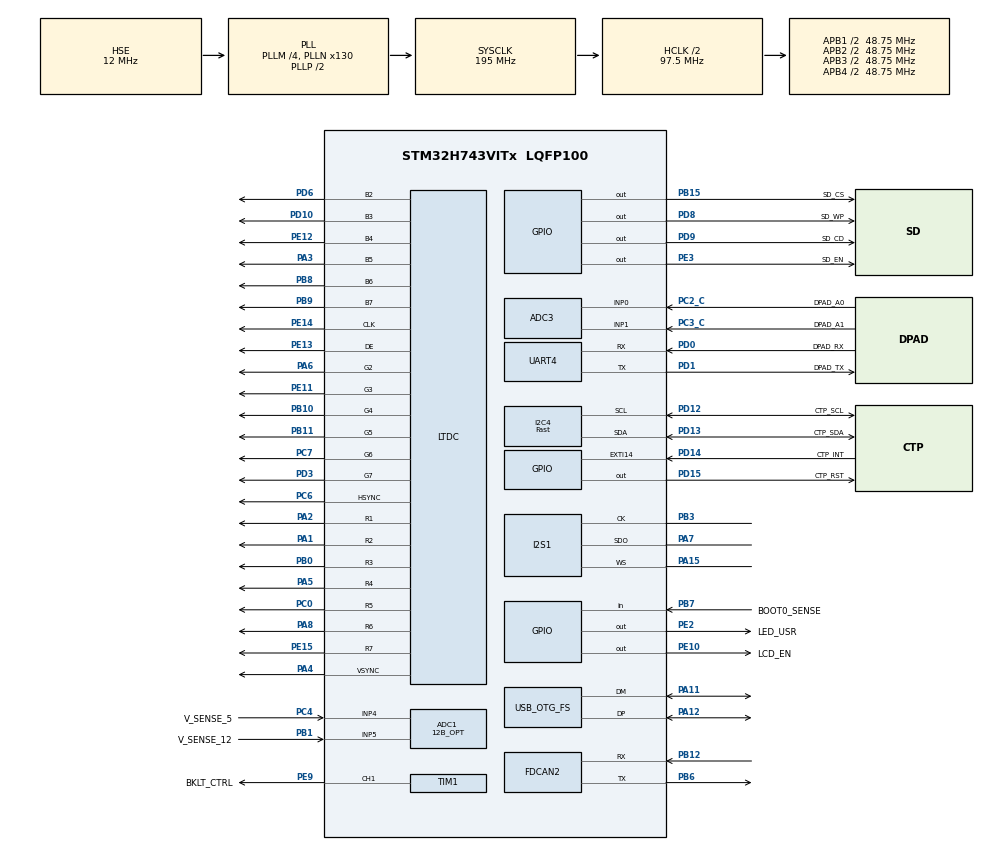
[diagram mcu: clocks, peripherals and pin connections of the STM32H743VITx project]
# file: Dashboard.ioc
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ADC1.Channel-1\#ChannelRegularConversion=ADC_CHANNEL_4
ADC1.Channel-2\#ChannelRegularConversion=ADC_CHANNEL_5
ADC1.ContinuousConvMode=ENABLE
ADC1.ConversionDataManagement=ADC_CONVERSIONDATA_DMA_CIRCULAR
ADC1.NbrOfConversion=2
ADC1.NbrOfConversionFlag=1
ADC1.OffsetNumber-1\#ChannelRegularConversion=ADC_OFFSET_NONE
ADC1.OffsetNumber-2\#ChannelRegularConversion=ADC_OFFSET_NONE
ADC1.OffsetSignedSaturation-1\#ChannelRegularConversion=DISABLE
ADC1.OversamplingMode=ENABLE
ADC1.Rank-1\#ChannelRegularConversion=1
ADC1.Rank-2\#ChannelRegularConversion=2
ADC1.Ratio=1024
ADC1.Resolution=ADC_RESOLUTION_12B_OPT
ADC1.RightBitShift=ADC_RIGHTBITSHIFT_6
ADC1.SamplingTime-1\#ChannelRegularConversion=ADC_SAMPLETIME_810CYCLES_5
ADC1.SamplingTime-2\#ChannelRegularConversion=ADC_SAMPLETIME_810CYCLES_5
ADC1.master=1
ADC3.Channel-0\#ChannelRegularConversion=ADC_CHANNEL_TEMPSENSOR
ADC3.NbrOfConversion=1
ADC3.NbrOfConversionFlag=1
ADC3.OffsetNumber-0\#ChannelRegularConversion=ADC_OFFSET_NONE
ADC3.OffsetSignedSaturation-0\#ChannelRegularConversion=DISABLE
ADC3.Rank-0\#ChannelRegularConversion=1
ADC3.SamplingTime-0\#ChannelRegularConversion=ADC_SAMPLETIME_32CYCLES_5
CORTEX_M7.CPU_DCache=Enabled
CORTEX_M7.CPU_ICache=Enabled
CORTEX_M7.Enable_Spec=__NULL
CORTEX_M7.MPU_Control=__NULL
CORTEX_M7.default_mode_Activation=1
DMA2D.ColorMode=DMA2D_OUTPUT_RGB565
Dma.ADC1.0.Direction=DMA_PERIPH_TO_MEMORY
Dma.ADC1.0.EventEnable=DISABLE
Dma.ADC1.0.FIFOMode=DMA_FIFOMODE_DISABLE
Dma.ADC1.0.Instance=DMA1_Stream0
Dma.ADC1.0.MemDataAlignment=DMA_MDATAALIGN_WORD
Dma.ADC1.0.MemInc=DMA_MINC_ENABLE
Dma.ADC1.0.Mode=DMA_CIRCULAR
Dma.ADC1.0.PeriphDataAlignment=DMA_PDATAALIGN_WORD
Dma.ADC1.0.PeriphInc=DMA_PINC_DISABLE
Dma.ADC1.0.Polarity=HAL_DMAMUX_REQ_GEN_RISING
Dma.ADC1.0.Priority=DMA_PRIORITY_LOW
Dma.ADC1.0.RequestNumber=1
Dma.ADC1.0.SignalID=NONE
Dma.ADC1.0.SyncEnable=DISABLE
Dma.ADC1.0.SyncPolarity=HAL_DMAMUX_SYNC_NO_EVENT
Dma.ADC1.0.SyncRequestNumber=1
Dma.ADC1.0.SyncSignalID=NONE
Dma.Request0=ADC1
FDCAN2.CalculateBaudRateNominal=250000
FDCAN2.CalculateTimeBitNominal=4000
FDCAN2.CalculateTimeQuantumNominal=250.0
FDCAN2.NominalPrescaler=10
FDCAN2.NominalTimeSeg1=13
FDCAN2.NominalTimeSeg2=2
FDCAN2.RxBuffersNbr=8
FDCAN2.RxFifo0ElmtsNbr=8
FDCAN2.RxFifo1ElmtsNbr=8
FDCAN2.TxBuffersNbr=16
FDCAN2.TxEventsNbr=8
FDCAN2.TxFifoQueueElmtsNbr=16
I2C4.I2C_Speed_Mode=I2C_Fast
I2C4.Speed=300
I2C4.Timing=0x00403A5E
I2S1.ErrorAudioFreq=0.15 %
I2S1.Instance=SPI$Index
I2S1.RealAudioFreq=8.012 KHz
LTDC.ActiveH=272
LTDC.ActiveW=480
LTDC.Alpha0_L0=255
LTDC.Alpha_L0=255
LTDC.Blue_L0=255
LTDC.HBP=40
LTDC.HFP=5
LTDC.ImageHeight_L0=272
LTDC.ImageWidth_L0=480
LTDC.Layers=0
LTDC.PixelFormat_L0=LTDC_PIXEL_FORMAT_RGB565
LTDC.VBP=8
LTDC.VFP=8
LTDC.WindowX1_L0=480
LTDC.WindowY0_L0=0
LTDC.WindowY1_L0=272
Mcu.Family=STM32H7
Mcu.Name=STM32H743VITx
Mcu.Package=LQFP100
NVIC.DMA1_Stream0_IRQn=true\:0\:0\:false\:false\:true\:false\:true\:true
NVIC.FDCAN2_IT0_IRQn=true\:0\:0\:false\:false\:true\:true\:true\:true
NVIC.FDCAN2_IT1_IRQn=true\:0\:0\:false\:false\:true\:true\:true\:true
NVIC.FDCAN_CAL_IRQn=true\:0\:0\:false\:false\:true\:true\:true\:true
NVIC.LTDC_ER_IRQn=true\:0\:0\:false\:false\:true\:true\:true\:true
NVIC.LTDC_IRQn=true\:0\:0\:false\:false\:true\:true\:true\:true
NVIC.OTG_FS_IRQn=true\:0\:0\:false\:false\:true\:false\:true\:true
NVIC.PriorityGroup=NVIC_PRIORITYGROUP_4
PA1.Mode=RGB666
PA1.Signal=LTDC_R2
PA11.Mode=Device_Only
PA11.Signal=USB_OTG_FS_DM
PA12.Mode=Device_Only
PA12.Signal=USB_OTG_FS_DP
PA13\ (JTMS/SWDIO).Mode=Serial_Wire
PA13\ (JTMS/SWDIO).Signal=DEBUG_JTMS-SWDIO
PA14\ (JTCK/SWCLK).Mode=Serial_Wire
PA14\ (JTCK/SWCLK).Signal=DEBUG_JTCK-SWCLK
PA15\ (JTDI).Mode=Half_Duplex_Master_Tx
PA15\ (JTDI).Signal=I2S1_WS
PA2.Mode=RGB666
PA2.Signal=LTDC_R1
PA3.Mode=RGB666
PA3.Signal=LTDC_B5
PA4.Mode=RGB666
PA4.Signal=LTDC_VSYNC
PA5.Mode=RGB666
PA5.Signal=LTDC_R4
PA6.Mode=RGB666
PA6.Signal=LTDC_G2
PA7.Mode=Half_Duplex_Master_Tx
PA7.Signal=I2S1_SDO
PA8.Mode=RGB666
PA8.Signal=LTDC_R6
PB0.Mode=RGB666
PB0.Signal=LTDC_R3
PB1.GPIO_Label=V_SENSE_12
PB1.Signal=ADCx_INP5
PB10.Mode=RGB666
PB10.Signal=LTDC_G4
PB11.Mode=RGB666
PB11.Signal=LTDC_G5
PB12.Mode=FDCAN_Activate
PB12.Signal=FDCAN2_RX
PB15.GPIO_Label=SD_CS
PB15.Signal=GPIO_Output
PB3\ (JTDO/TRACESWO).Mode=Half_Duplex_Master_Tx
PB3\ (JTDO/TRACESWO).Signal=I2S1_CK
PB6.Mode=FDCAN_Activate
PB6.Signal=FDCAN2_TX
PB7.GPIO_Label=BOOT0_SENSE
PB7.Signal=GPIO_Input
PB8.Mode=RGB666
PB8.Signal=LTDC_B6
PB9.Mode=RGB666
PB9.Signal=LTDC_B7
PC0.Mode=RGB666
PC0.Signal=LTDC_R5
PC2_C.GPIO_Label=DPAD_A0
PC2_C.Mode=IN0-Single-Ended
PC2_C.Signal=ADC3_INP0
PC3_C.GPIO_Label=DPAD_A1
PC3_C.Mode=IN1-Single-Ended
PC3_C.Signal=ADC3_INP1
PC4.GPIO_Label=V_SENSE_5
PC4.Signal=ADCx_INP4
PC6.Mode=RGB666
PC6.Signal=LTDC_HSYNC
PC7.Mode=RGB666
PC7.Signal=LTDC_G6
PD0.GPIO_Label=DPAD_RX
PD0.Mode=Asynchronous
PD0.Signal=UART4_RX
PD1.GPIO_Label=DPAD_TX
PD1.Mode=Asynchronous
PD1.Signal=UART4_TX
PD10.Mode=RGB666
PD10.Signal=LTDC_B3
PD12.GPIO_Label=CTP_SCL
PD12.GPIO_Speed=GPIO_SPEED_FREQ_HIGH
PD12.Mode=I2C
PD12.Signal=I2C4_SCL
PD13.GPIO_Label=CTP_SDA
PD13.GPIO_Speed=GPIO_SPEED_FREQ_HIGH
PD13.Mode=I2C
PD13.Signal=I2C4_SDA
PD14.GPIO_Label=CTP_INT
PD14.GPIO_ModeDefaultEXTI=GPIO_MODE_IT_RISING_FALLING
PD14.Signal=GPXTI14
PD15.GPIO_Label=CTP_RST
PD15.Signal=GPIO_Output
PD3.Mode=RGB666
PD3.Signal=LTDC_G7
PD6.Mode=RGB666
PD6.Signal=LTDC_B2
PD8.GPIO_Label=SD_WP
PD8.Signal=GPIO_Output
PD9.GPIO_Label=SD_CD
PD9.Signal=GPIO_Output
PE10.GPIO_Label=LCD_EN
PE10.PinAttribute=Free
PE10.Signal=GPIO_Output
PE11.Mode=RGB666
PE11.PinAttribute=Free
PE11.Signal=LTDC_G3
PE12.Mode=RGB666
PE12.Signal=LTDC_B4
PE13.Mode=RGB666
PE13.Signal=LTDC_DE
PE14.Mode=RGB666
PE14.Signal=LTDC_CLK
PE15.Mode=RGB666
PE15.Signal=LTDC_R7
PE2.GPIO_Label=LED_USR
PE2.Signal=GPIO_Output
PE3.GPIO_Label=SD_EN
PE3.Signal=GPIO_Output
PE9.GPIO_Label=BKLT_CTRL
PE9.Signal=S_TIM1_CH1
PH0-OSC_IN\ (PH0).Mode=HSE-External-Oscillator
PH0-OSC_IN\ (PH0).Signal=RCC_OSC_IN
PH1-OSC_OUT\ (PH1).Mode=HSE-External-Oscillator
PH1-OSC_OUT\ (PH1).Signal=RCC_OSC_OUT
ProjectManager.HeapSize=0x200
ProjectManager.StackSize=0x400
ProjectManager.TargetToolchain=CMake
RCC.ADCFreq_Value=40000000
RCC.APB1Freq_Value=48750000
RCC.APB2Freq_Value=48750000
RCC.APB3Freq_Value=48750000
RCC.APB4Freq_Value=48750000
RCC.CortexFreq_Value=195000000
RCC.D1PPRE=RCC_APB3_DIV2
RCC.D2PPRE1=RCC_APB1_DIV2
RCC.D2PPRE2=RCC_APB2_DIV2
RCC.D3PPRE=RCC_APB4_DIV2
RCC.DIVM1=4
RCC.DIVM2=6
RCC.DIVM3=8
RCC.DIVN1=130
RCC.DIVN2=80
RCC.DIVN3=192
RCC.DIVP2=4
RCC.DIVQ2=4
RCC.DIVR3=24
RCC.FDCANCLockSelection=RCC_FDCANCLKSOURCE_PLL2
RCC.HCLKFreq_Value=97500000
RCC.HPRE=RCC_HCLK_DIV2
RCC.HSE_VALUE=12000000
RCC.PLL1_VCI_Range-AdvancedSettings=RCC_PLL1VCIRANGE_0
RCC.PLLSourceVirtual=RCC_PLLSOURCE_HSE
RCC.SDMMC1CLockSelection=RCC_SDMMCCLKSOURCE_PLL2
RCC.SPI123CLockSelection=RCC_SPI123CLKSOURCE_PLL2
RCC.SYSCLKFreq_VALUE=195000000
RCC.SYSCLKSource=RCC_SYSCLKSOURCE_PLLCLK
RCC.USBCLockSelection=RCC_USBCLKSOURCE_HSI48
RCC.USBFreq_Value=48000000
SH.ADCx_INP4.0=ADC1_INP4,IN4-Single-Ended
SH.ADCx_INP5.0=ADC1_INP5,IN5-Single-Ended
SH.S_TIM1_CH1.0=TIM1_CH1,PWM Generation1 CH1
TIM1.Channel-PWM\ Generation1\ CH1=TIM_CHANNEL_1
TIM1.Period=100
TIM1.Prescaler=10000
USB_DEVICE.CLASS_NAME_FS=CDC
USB_DEVICE.VirtualMode-CDC_FS=Cdc
USB_DEVICE.VirtualModeFS=Cdc_FS
USB_OTG_FS.VirtualMode=Device_Only
VP_ADC3_TempSens_Input.Mode=IN-TempSens
VP_DMA2D_VS_DMA2D.Mode=DMA2D_Activate
VP_MEMORYMAP_VS_MEMORYMAP.Mode=CurAppReg
VP_USB_DEVICE_VS_USB_DEVICE_CDC_FS.Mode=CDC_FS
board=custom

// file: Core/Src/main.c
/* USER CODE BEGIN Header */
/**
 ******************************************************************************
 * @file           : main.c
 * @brief          : Main program body
 ******************************************************************************
 * @attention
 *
 * Copyright (c) 2026 STMicroelectronics.
 * All rights reserved.
 *
 * This software is licensed under terms that can be found in the LICENSE file
 * in the root directory of this software component.
 * If no LICENSE file comes with this software, it is provided AS-IS.
 *
 ******************************************************************************
 */
/* USER CODE END Header */
#include "main.h"
#include "usb_device.h"

/* USER CODE BEGIN Includes */

#include "display.h"
#include "persistent_settings.h"
#include "can_interface.h"
#include "adc_sensors.h"
#include "usb_telemetry.h"
#include "screen_helper.h"
#include "ui.h"

/* USER CODE END Includes */

ADC_HandleTypeDef hadc1;
ADC_HandleTypeDef hadc3;
DMA_HandleTypeDef hdma_adc1;

DMA2D_HandleTypeDef hdma2d;

FDCAN_HandleTypeDef hfdcan2;

I2C_HandleTypeDef hi2c4;

I2S_HandleTypeDef hi2s1;

LTDC_HandleTypeDef hltdc;

TIM_HandleTypeDef htim1;

UART_HandleTypeDef huart4;

void SystemClock_Config(void);
void PeriphCommonClock_Config(void);
static void MX_GPIO_Init(void);
static void MX_DMA_Init(void);
static void MX_I2S1_Init(void);
static void MX_LTDC_Init(void);
static void MX_ADC3_Init(void);
static void MX_ADC1_Init(void);
static void MX_I2C4_Init(void);
static void MX_TIM1_Init(void);
static void MX_UART4_Init(void);
static void MX_FDCAN2_Init(void);
static void MX_DMA2D_Init(void);

int main(void)
{

  /* Enable the CPU Cache */

  /* Enable I-Cache---------------------------------------------------------*/
  SCB_EnableICache();

  /* Enable D-Cache---------------------------------------------------------*/
  SCB_EnableDCache();

  /* MCU Configuration--------------------------------------------------------*/

  /* Reset of all peripherals, Initializes the Flash interface and the Systick. */
  HAL_Init();

  /* Configure the system clock */
  SystemClock_Config();

  /* Configure the peripherals common clocks */
  PeriphCommonClock_Config();

  /* Initialize all configured peripherals */
  MX_GPIO_Init();
  MX_DMA_Init();
  MX_I2S1_Init();
  MX_LTDC_Init();
  MX_ADC3_Init();
  MX_ADC1_Init();
  MX_I2C4_Init();
  MX_TIM1_Init();
  MX_UART4_Init();
  MX_FDCAN2_Init();
  MX_DMA2D_Init();
  MX_USB_DEVICE_Init();
  /* USER CODE BEGIN 2 */

  PersistentSettings_Init();
  Display_Init();
  ui_init();
  CAN_Interface_Init();
  ADC_Sensors_Init();
  ScreenHelper_Init();
  USB_Telemetry_Init();

  /* USER CODE END 2 */

  /* Infinite loop */
  while (1) {

    /* USER CODE BEGIN 3 */

    Display_BacklightUpdate();
    lv_timer_handler();
    ui_tick();
    LV3_CAN_Loop();
    ScreenHelper_Loop();
    USB_Telemetry_Loop();

  }
  /* USER CODE END 3 */
}

void SystemClock_Config(void)
{
  RCC_OscInitTypeDef RCC_OscInitStruct = {0};
  RCC_ClkInitTypeDef RCC_ClkInitStruct = {0};

  /** Supply configuration update enable
  */
  HAL_PWREx_ConfigSupply(PWR_LDO_SUPPLY);

  /** Configure the main internal regulator output voltage
  */
  __HAL_PWR_VOLTAGESCALING_CONFIG(PWR_REGULATOR_VOLTAGE_SCALE3);

  while(!__HAL_PWR_GET_FLAG(PWR_FLAG_VOSRDY)) {}

  /** Initializes the RCC Oscillators according to the specified parameters
  * in the RCC_OscInitTypeDef structure.
  */
  RCC_OscInitStruct.OscillatorType = RCC_OSCILLATORTYPE_HSI48|RCC_OSCILLATORTYPE_HSE;
  RCC_OscInitStruct.HSEState = RCC_HSE_ON;
  RCC_OscInitStruct.HSI48State = RCC_HSI48_ON;
  RCC_OscInitStruct.PLL.PLLState = RCC_PLL_ON;
  RCC_OscInitStruct.PLL.PLLSource = RCC_PLLSOURCE_HSE;
  RCC_OscInitStruct.PLL.PLLM = 4;
  RCC_OscInitStruct.PLL.PLLN = 130;
  RCC_OscInitStruct.PLL.PLLP = 2;
  RCC_OscInitStruct.PLL.PLLQ = 2;
  RCC_OscInitStruct.PLL.PLLR = 2;
  RCC_OscInitStruct.PLL.PLLRGE = RCC_PLL1VCIRANGE_1;
  RCC_OscInitStruct.PLL.PLLVCOSEL = RCC_PLL1VCOWIDE;
  RCC_OscInitStruct.PLL.PLLFRACN = 0;
  if (HAL_RCC_OscConfig(&RCC_OscInitStruct) != HAL_OK)
  {
    Error_Handler();
  }

  /** Initializes the CPU, AHB and APB buses clocks
  */
  RCC_ClkInitStruct.ClockType = RCC_CLOCKTYPE_HCLK|RCC_CLOCKTYPE_SYSCLK
                              |RCC_CLOCKTYPE_PCLK1|RCC_CLOCKTYPE_PCLK2
                              |RCC_CLOCKTYPE_D3PCLK1|RCC_CLOCKTYPE_D1PCLK1;
  RCC_ClkInitStruct.SYSCLKSource = RCC_SYSCLKSOURCE_PLLCLK;
  RCC_ClkInitStruct.SYSCLKDivider = RCC_SYSCLK_DIV1;
  RCC_ClkInitStruct.AHBCLKDivider = RCC_HCLK_DIV2;
  RCC_ClkInitStruct.APB3CLKDivider = RCC_APB3_DIV2;
  RCC_ClkInitStruct.APB1CLKDivider = RCC_APB1_DIV2;
  RCC_ClkInitStruct.APB2CLKDivider = RCC_APB2_DIV2;
  RCC_ClkInitStruct.APB4CLKDivider = RCC_APB4_DIV2;

  if (HAL_RCC_ClockConfig(&RCC_ClkInitStruct, FLASH_LATENCY_2) != HAL_OK)
  {
    Error_Handler();
  }
}

void PeriphCommonClock_Config(void)
{
  RCC_PeriphCLKInitTypeDef PeriphClkInitStruct = {0};

  /** Initializes the peripherals clock
  */
  PeriphClkInitStruct.PeriphClockSelection = RCC_PERIPHCLK_ADC|RCC_PERIPHCLK_SPI1
                              |RCC_PERIPHCLK_FDCAN;
  PeriphClkInitStruct.PLL2.PLL2M = 6;
  PeriphClkInitStruct.PLL2.PLL2N = 80;
  PeriphClkInitStruct.PLL2.PLL2P = 4;
  PeriphClkInitStruct.PLL2.PLL2Q = 4;
  PeriphClkInitStruct.PLL2.PLL2R = 2;
  PeriphClkInitStruct.PLL2.PLL2RGE = RCC_PLL2VCIRANGE_1;
  PeriphClkInitStruct.PLL2.PLL2VCOSEL = RCC_PLL2VCOMEDIUM;
  PeriphClkInitStruct.PLL2.PLL2FRACN = 0;
  PeriphClkInitStruct.Spi123ClockSelection = RCC_SPI123CLKSOURCE_PLL2;
  PeriphClkInitStruct.FdcanClockSelection = RCC_FDCANCLKSOURCE_PLL2;
  PeriphClkInitStruct.AdcClockSelection = RCC_ADCCLKSOURCE_PLL2;
  if (HAL_RCCEx_PeriphCLKConfig(&PeriphClkInitStruct) != HAL_OK)
  {
    Error_Handler();
  }
}

static void MX_ADC1_Init(void)
{

  ADC_MultiModeTypeDef multimode = {0};
  ADC_ChannelConfTypeDef sConfig = {0};

  /** Common config
  */
  hadc1.Instance = ADC1;
  hadc1.Init.ClockPrescaler = ADC_CLOCK_ASYNC_DIV1;
  hadc1.Init.Resolution = ADC_RESOLUTION_12B_OPT;
  hadc1.Init.ScanConvMode = ADC_SCAN_ENABLE;
  hadc1.Init.EOCSelection = ADC_EOC_SINGLE_CONV;
  hadc1.Init.LowPowerAutoWait = DISABLE;
  hadc1.Init.ContinuousConvMode = ENABLE;
  hadc1.Init.NbrOfConversion = 2;
  hadc1.Init.DiscontinuousConvMode = DISABLE;
  hadc1.Init.ExternalTrigConv = ADC_SOFTWARE_START;
  hadc1.Init.ExternalTrigConvEdge = ADC_EXTERNALTRIGCONVEDGE_NONE;
  hadc1.Init.ConversionDataManagement = ADC_CONVERSIONDATA_DMA_CIRCULAR;
  hadc1.Init.Overrun = ADC_OVR_DATA_PRESERVED;
  hadc1.Init.LeftBitShift = ADC_LEFTBITSHIFT_NONE;
  hadc1.Init.OversamplingMode = ENABLE;
  hadc1.Init.Oversampling.Ratio = 1024;
  hadc1.Init.Oversampling.RightBitShift = ADC_RIGHTBITSHIFT_6;
  hadc1.Init.Oversampling.TriggeredMode = ADC_TRIGGEREDMODE_SINGLE_TRIGGER;
  hadc1.Init.Oversampling.OversamplingStopReset = ADC_REGOVERSAMPLING_CONTINUED_MODE;
  if (HAL_ADC_Init(&hadc1) != HAL_OK)
  {
    Error_Handler();
  }

  /** Configure the ADC multi-mode
  */
  multimode.Mode = ADC_MODE_INDEPENDENT;
  if (HAL_ADCEx_MultiModeConfigChannel(&hadc1, &multimode) != HAL_OK)
  {
    Error_Handler();
  }

  /** Configure Regular Channel
  */
  sConfig.Channel = ADC_CHANNEL_4;
  sConfig.Rank = ADC_REGULAR_RANK_1;
  sConfig.SamplingTime = ADC_SAMPLETIME_810CYCLES_5;
  sConfig.SingleDiff = ADC_SINGLE_ENDED;
  sConfig.OffsetNumber = ADC_OFFSET_NONE;
  sConfig.Offset = 0;
  sConfig.OffsetSignedSaturation = DISABLE;
  if (HAL_ADC_ConfigChannel(&hadc1, &sConfig) != HAL_OK)
  {
    Error_Handler();
  }

  /** Configure Regular Channel
  */
  sConfig.Channel = ADC_CHANNEL_5;
  sConfig.Rank = ADC_REGULAR_RANK_2;
  if (HAL_ADC_ConfigChannel(&hadc1, &sConfig) != HAL_OK)
  {
    Error_Handler();
  }

}

static void MX_ADC3_Init(void)
{

  ADC_ChannelConfTypeDef sConfig = {0};

  /** Common config
  */
  hadc3.Instance = ADC3;
  hadc3.Init.Resolution = ADC_RESOLUTION_16B;
  hadc3.Init.ScanConvMode = ADC_SCAN_DISABLE;
  hadc3.Init.EOCSelection = ADC_EOC_SINGLE_CONV;
  hadc3.Init.LowPowerAutoWait = DISABLE;
  hadc3.Init.ContinuousConvMode = DISABLE;
  hadc3.Init.NbrOfConversion = 1;
  hadc3.Init.DiscontinuousConvMode = DISABLE;
  hadc3.Init.ExternalTrigConv = ADC_SOFTWARE_START;
  hadc3.Init.ExternalTrigConvEdge = ADC_EXTERNALTRIGCONVEDGE_NONE;
  hadc3.Init.ConversionDataManagement = ADC_CONVERSIONDATA_DR;
  hadc3.Init.Overrun = ADC_OVR_DATA_PRESERVED;
  hadc3.Init.LeftBitShift = ADC_LEFTBITSHIFT_NONE;
  hadc3.Init.OversamplingMode = DISABLE;
  hadc3.Init.Oversampling.Ratio = 1;
  if (HAL_ADC_Init(&hadc3) != HAL_OK)
  {
    Error_Handler();
  }

  /** Configure Regular Channel
  */
  sConfig.Channel = ADC_CHANNEL_TEMPSENSOR;
  sConfig.Rank = ADC_REGULAR_RANK_1;
  sConfig.SamplingTime = ADC_SAMPLETIME_32CYCLES_5;
  sConfig.SingleDiff = ADC_SINGLE_ENDED;
  sConfig.OffsetNumber = ADC_OFFSET_NONE;
  sConfig.Offset = 0;
  sConfig.OffsetSignedSaturation = DISABLE;
  if (HAL_ADC_ConfigChannel(&hadc3, &sConfig) != HAL_OK)
  {
    Error_Handler();
  }

}

static void MX_DMA2D_Init(void)
{

  hdma2d.Instance = DMA2D;
  hdma2d.Init.Mode = DMA2D_M2M;
  hdma2d.Init.ColorMode = DMA2D_OUTPUT_RGB565;
  hdma2d.Init.OutputOffset = 0;
  hdma2d.LayerCfg[1].InputOffset = 0;
  hdma2d.LayerCfg[1].InputColorMode = DMA2D_INPUT_RGB565;
  hdma2d.LayerCfg[1].AlphaMode = DMA2D_NO_MODIF_ALPHA;
  hdma2d.LayerCfg[1].InputAlpha = 0;
  hdma2d.LayerCfg[1].AlphaInverted = DMA2D_REGULAR_ALPHA;
  hdma2d.LayerCfg[1].RedBlueSwap = DMA2D_RB_REGULAR;
  hdma2d.LayerCfg[1].ChromaSubSampling = DMA2D_NO_CSS;
  if (HAL_DMA2D_Init(&hdma2d) != HAL_OK)
  {
    Error_Handler();
  }
  if (HAL_DMA2D_ConfigLayer(&hdma2d, 1) != HAL_OK)
  {
    Error_Handler();
  }

}

static void MX_FDCAN2_Init(void)
{

  hfdcan2.Instance = FDCAN2;
  hfdcan2.Init.FrameFormat = FDCAN_FRAME_CLASSIC;
  hfdcan2.Init.Mode = FDCAN_MODE_NORMAL;
  hfdcan2.Init.AutoRetransmission = DISABLE;
  hfdcan2.Init.TransmitPause = DISABLE;
  hfdcan2.Init.ProtocolException = DISABLE;
  hfdcan2.Init.NominalPrescaler = 10;
  hfdcan2.Init.NominalSyncJumpWidth = 1;
  hfdcan2.Init.NominalTimeSeg1 = 13;
  hfdcan2.Init.NominalTimeSeg2 = 2;
  hfdcan2.Init.DataPrescaler = 1;
  hfdcan2.Init.DataSyncJumpWidth = 1;
  hfdcan2.Init.DataTimeSeg1 = 1;
  hfdcan2.Init.DataTimeSeg2 = 1;
  hfdcan2.Init.MessageRAMOffset = 0;
  hfdcan2.Init.StdFiltersNbr = 0;
  hfdcan2.Init.ExtFiltersNbr = 0;
  hfdcan2.Init.RxFifo0ElmtsNbr = 8;
  hfdcan2.Init.RxFifo0ElmtSize = FDCAN_DATA_BYTES_8;
  hfdcan2.Init.RxFifo1ElmtsNbr = 8;
  hfdcan2.Init.RxFifo1ElmtSize = FDCAN_DATA_BYTES_8;
  hfdcan2.Init.RxBuffersNbr = 8;
  hfdcan2.Init.RxBufferSize = FDCAN_DATA_BYTES_8;
  hfdcan2.Init.TxEventsNbr = 8;
  hfdcan2.Init.TxBuffersNbr = 16;
  hfdcan2.Init.TxFifoQueueElmtsNbr = 16;
  hfdcan2.Init.TxFifoQueueMode = FDCAN_TX_FIFO_OPERATION;
  hfdcan2.Init.TxElmtSize = FDCAN_DATA_BYTES_8;
  if (HAL_FDCAN_Init(&hfdcan2) != HAL_OK)
  {
    Error_Handler();
  }

}

static void MX_I2C4_Init(void)
{

  hi2c4.Instance = I2C4;
  hi2c4.Init.Timing = 0x00403A5E;
  hi2c4.Init.OwnAddress1 = 0;
  hi2c4.Init.AddressingMode = I2C_ADDRESSINGMODE_7BIT;
  hi2c4.Init.DualAddressMode = I2C_DUALADDRESS_DISABLE;
  hi2c4.Init.OwnAddress2 = 0;
  hi2c4.Init.OwnAddress2Masks = I2C_OA2_NOMASK;
  hi2c4.Init.GeneralCallMode = I2C_GENERALCALL_DISABLE;
  hi2c4.Init.NoStretchMode = I2C_NOSTRETCH_DISABLE;
  if (HAL_I2C_Init(&hi2c4) != HAL_OK)
  {
    Error_Handler();
  }

  /** Configure Analogue filter
  */
  if (HAL_I2CEx_ConfigAnalogFilter(&hi2c4, I2C_ANALOGFILTER_ENABLE) != HAL_OK)
  {
    Error_Handler();
  }

  /** Configure Digital filter
  */
  if (HAL_I2CEx_ConfigDigitalFilter(&hi2c4, 0) != HAL_OK)
  {
    Error_Handler();
  }

}

static void MX_I2S1_Init(void)
{

  hi2s1.Instance = SPI1;
  hi2s1.Init.Mode = I2S_MODE_MASTER_TX;
  hi2s1.Init.Standard = I2S_STANDARD_PHILIPS;
  hi2s1.Init.DataFormat = I2S_DATAFORMAT_16B;
  hi2s1.Init.MCLKOutput = I2S_MCLKOUTPUT_DISABLE;
  hi2s1.Init.AudioFreq = I2S_AUDIOFREQ_8K;
  hi2s1.Init.CPOL = I2S_CPOL_LOW;
  hi2s1.Init.FirstBit = I2S_FIRSTBIT_MSB;
  hi2s1.Init.WSInversion = I2S_WS_INVERSION_DISABLE;
  hi2s1.Init.Data24BitAlignment = I2S_DATA_24BIT_ALIGNMENT_RIGHT;
  hi2s1.Init.MasterKeepIOState = I2S_MASTER_KEEP_IO_STATE_DISABLE;
  if (HAL_I2S_Init(&hi2s1) != HAL_OK)
  {
    Error_Handler();
  }

}

static void MX_LTDC_Init(void)
{

  LTDC_LayerCfgTypeDef pLayerCfg = {0};

  hltdc.Instance = LTDC;
  hltdc.Init.HSPolarity = LTDC_HSPOLARITY_AL;
  hltdc.Init.VSPolarity = LTDC_VSPOLARITY_AL;
  hltdc.Init.DEPolarity = LTDC_DEPOLARITY_AL;
  hltdc.Init.PCPolarity = LTDC_PCPOLARITY_IPC;
  hltdc.Init.HorizontalSync = 7;
  hltdc.Init.VerticalSync = 3;
  hltdc.Init.AccumulatedHBP = 47;
  hltdc.Init.AccumulatedVBP = 11;
  hltdc.Init.AccumulatedActiveW = 527;
  hltdc.Init.AccumulatedActiveH = 283;
  hltdc.Init.TotalWidth = 532;
  hltdc.Init.TotalHeigh = 291;
  hltdc.Init.Backcolor.Blue = 0;
  hltdc.Init.Backcolor.Green = 0;
  hltdc.Init.Backcolor.Red = 0;
  if (HAL_LTDC_Init(&hltdc) != HAL_OK)
  {
    Error_Handler();
  }
  pLayerCfg.WindowX0 = 0;
  pLayerCfg.WindowX1 = 480;
  pLayerCfg.WindowY0 = 0;
  pLayerCfg.WindowY1 = 272;
  pLayerCfg.PixelFormat = LTDC_PIXEL_FORMAT_RGB565;
  pLayerCfg.Alpha = 255;
  pLayerCfg.Alpha0 = 255;
  pLayerCfg.BlendingFactor1 = LTDC_BLENDING_FACTOR1_CA;
  pLayerCfg.BlendingFactor2 = LTDC_BLENDING_FACTOR2_CA;
  pLayerCfg.FBStartAdress = 0;
  pLayerCfg.ImageWidth = 480;
  pLayerCfg.ImageHeight = 272;
  pLayerCfg.Backcolor.Blue = 255;
  pLayerCfg.Backcolor.Green = 0;
  pLayerCfg.Backcolor.Red = 0;
  if (HAL_LTDC_ConfigLayer(&hltdc, &pLayerCfg, 0) != HAL_OK)
  {
    Error_Handler();
  }

}

static void MX_TIM1_Init(void)
{

  TIM_MasterConfigTypeDef sMasterConfig = {0};
  TIM_OC_InitTypeDef sConfigOC = {0};
  TIM_BreakDeadTimeConfigTypeDef sBreakDeadTimeConfig = {0};

  htim1.Instance = TIM1;
  htim1.Init.Prescaler = 10000;
  htim1.Init.CounterMode = TIM_COUNTERMODE_UP;
  htim1.Init.Period = 100;
  htim1.Init.ClockDivision = TIM_CLOCKDIVISION_DIV1;
  htim1.Init.RepetitionCounter = 0;
  htim1.Init.AutoReloadPreload = TIM_AUTORELOAD_PRELOAD_DISABLE;
  if (HAL_TIM_PWM_Init(&htim1) != HAL_OK)
  {
    Error_Handler();
  }
  sMasterConfig.MasterOutputTrigger = TIM_TRGO_RESET;
  sMasterConfig.MasterOutputTrigger2 = TIM_TRGO2_RESET;
  sMasterConfig.MasterSlaveMode = TIM_MASTERSLAVEMODE_DISABLE;
  if (HAL_TIMEx_MasterConfigSynchronization(&htim1, &sMasterConfig) != HAL_OK)
  {
    Error_Handler();
  }
  sConfigOC.OCMode = TIM_OCMODE_PWM1;
  sConfigOC.Pulse = 0;
  sConfigOC.OCPolarity = TIM_OCPOLARITY_HIGH;
  sConfigOC.OCNPolarity = TIM_OCNPOLARITY_HIGH;
  sConfigOC.OCFastMode = TIM_OCFAST_DISABLE;
  sConfigOC.OCIdleState = TIM_OCIDLESTATE_RESET;
  sConfigOC.OCNIdleState = TIM_OCNIDLESTATE_RESET;
  if (HAL_TIM_PWM_ConfigChannel(&htim1, &sConfigOC, TIM_CHANNEL_1) != HAL_OK)
  {
    Error_Handler();
  }
  sBreakDeadTimeConfig.OffStateRunMode = TIM_OSSR_DISABLE;
  sBreakDeadTimeConfig.OffStateIDLEMode = TIM_OSSI_DISABLE;
  sBreakDeadTimeConfig.LockLevel = TIM_LOCKLEVEL_OFF;
  sBreakDeadTimeConfig.DeadTime = 0;
  sBreakDeadTimeConfig.BreakState = TIM_BREAK_DISABLE;
  sBreakDeadTimeConfig.BreakPolarity = TIM_BREAKPOLARITY_HIGH;
  sBreakDeadTimeConfig.BreakFilter = 0;
  sBreakDeadTimeConfig.Break2State = TIM_BREAK2_DISABLE;
  sBreakDeadTimeConfig.Break2Polarity = TIM_BREAK2POLARITY_HIGH;
  sBreakDeadTimeConfig.Break2Filter = 0;
  sBreakDeadTimeConfig.AutomaticOutput = TIM_AUTOMATICOUTPUT_DISABLE;
  if (HAL_TIMEx_ConfigBreakDeadTime(&htim1, &sBreakDeadTimeConfig) != HAL_OK)
  {
    Error_Handler();
  }
  HAL_TIM_MspPostInit(&htim1);

}

static void MX_UART4_Init(void)
{

  huart4.Instance = UART4;
  huart4.Init.BaudRate = 115200;
  huart4.Init.WordLength = UART_WORDLENGTH_8B;
  huart4.Init.StopBits = UART_STOPBITS_1;
  huart4.Init.Parity = UART_PARITY_NONE;
  huart4.Init.Mode = UART_MODE_TX_RX;
  huart4.Init.HwFlowCtl = UART_HWCONTROL_NONE;
  huart4.Init.OverSampling = UART_OVERSAMPLING_16;
  huart4.Init.OneBitSampling = UART_ONE_BIT_SAMPLE_DISABLE;
  huart4.Init.ClockPrescaler = UART_PRESCALER_DIV1;
  huart4.AdvancedInit.AdvFeatureInit = UART_ADVFEATURE_NO_INIT;
  if (HAL_UART_Init(&huart4) != HAL_OK)
  {
    Error_Handler();
  }
  if (HAL_UARTEx_SetTxFifoThreshold(&huart4, UART_TXFIFO_THRESHOLD_1_8) != HAL_OK)
  {
    Error_Handler();
  }
  if (HAL_UARTEx_SetRxFifoThreshold(&huart4, UART_RXFIFO_THRESHOLD_1_8) != HAL_OK)
  {
    Error_Handler();
  }
  if (HAL_UARTEx_DisableFifoMode(&huart4) != HAL_OK)
  {
    Error_Handler();
  }

}

static void MX_DMA_Init(void)
{

  /* DMA controller clock enable */
  __HAL_RCC_DMA1_CLK_ENABLE();

  /* DMA interrupt init */
  /* DMA1_Stream0_IRQn interrupt configuration */
  HAL_NVIC_SetPriority(DMA1_Stream0_IRQn, 0, 0);
  HAL_NVIC_EnableIRQ(DMA1_Stream0_IRQn);

}

static void MX_GPIO_Init(void)
{
  GPIO_InitTypeDef GPIO_InitStruct = {0};

  /* GPIO Ports Clock Enable */
  __HAL_RCC_GPIOE_CLK_ENABLE();
  __HAL_RCC_GPIOH_CLK_ENABLE();
  __HAL_RCC_GPIOC_CLK_ENABLE();
  __HAL_RCC_GPIOA_CLK_ENABLE();
  __HAL_RCC_GPIOB_CLK_ENABLE();
  __HAL_RCC_GPIOD_CLK_ENABLE();

  /*Configure GPIO pin Output Level */
  HAL_GPIO_WritePin(GPIOE, LED_USR_Pin|SD_EN_Pin|LCD_EN_Pin, GPIO_PIN_RESET);

  /*Configure GPIO pin Output Level */
  HAL_GPIO_WritePin(SD_CS_GPIO_Port, SD_CS_Pin, GPIO_PIN_RESET);

  /*Configure GPIO pin Output Level */
  HAL_GPIO_WritePin(GPIOD, SD_WP_Pin|SD_CD_Pin|CTP_RST_Pin, GPIO_PIN_RESET);

  /*Configure GPIO pins : LED_USR_Pin SD_EN_Pin LCD_EN_Pin */
  GPIO_InitStruct.Pin = LED_USR_Pin|SD_EN_Pin|LCD_EN_Pin;
  GPIO_InitStruct.Mode = GPIO_MODE_OUTPUT_PP;
  GPIO_InitStruct.Pull = GPIO_NOPULL;
  GPIO_InitStruct.Speed = GPIO_SPEED_FREQ_LOW;
  HAL_GPIO_Init(GPIOE, &GPIO_InitStruct);

  /*Configure GPIO pin : SD_CS_Pin */
  GPIO_InitStruct.Pin = SD_CS_Pin;
  GPIO_InitStruct.Mode = GPIO_MODE_OUTPUT_PP;
  GPIO_InitStruct.Pull = GPIO_NOPULL;
  GPIO_InitStruct.Speed = GPIO_SPEED_FREQ_LOW;
  HAL_GPIO_Init(SD_CS_GPIO_Port, &GPIO_InitStruct);

  /*Configure GPIO pins : SD_WP_Pin SD_CD_Pin CTP_RST_Pin */
  GPIO_InitStruct.Pin = SD_WP_Pin|SD_CD_Pin|CTP_RST_Pin;
  GPIO_InitStruct.Mode = GPIO_MODE_OUTPUT_PP;
  GPIO_InitStruct.Pull = GPIO_NOPULL;
  GPIO_InitStruct.Speed = GPIO_SPEED_FREQ_LOW;
  HAL_GPIO_Init(GPIOD, &GPIO_InitStruct);

  /*Configure GPIO pin : CTP_INT_Pin */
  GPIO_InitStruct.Pin = CTP_INT_Pin;
  GPIO_InitStruct.Mode = GPIO_MODE_IT_RISING_FALLING;
  GPIO_InitStruct.Pull = GPIO_NOPULL;
  HAL_GPIO_Init(CTP_INT_GPIO_Port, &GPIO_InitStruct);

  /*Configure GPIO pin : BOOT0_SENSE_Pin */
  GPIO_InitStruct.Pin = BOOT0_SENSE_Pin;
  GPIO_InitStruct.Mode = GPIO_MODE_INPUT;
  GPIO_InitStruct.Pull = GPIO_NOPULL;
  HAL_GPIO_Init(BOOT0_SENSE_GPIO_Port, &GPIO_InitStruct);

}

void Error_Handler(void)
{
  __disable_irq();
  while (1) {
  }
}
#ifdef USE_FULL_ASSERT
/**
  * @brief  Reports the name of the source file and the source line number
  *         where the assert_param error has occurred.
  * @param  file: pointer to the source file name
  * @param  line: assert_param error line source number
  * @retval None
  */
void assert_failed(uint8_t *file, uint32_t line)
{
  /* USER CODE BEGIN 6 */
  /* User can add his own implementation to report the file name and line
     number, ex: printf("Wrong parameters value: file %s on line %d\r\n", file,
     line) */
  /* USER CODE END 6 */
}
#endif /* USE_FULL_ASSERT */
